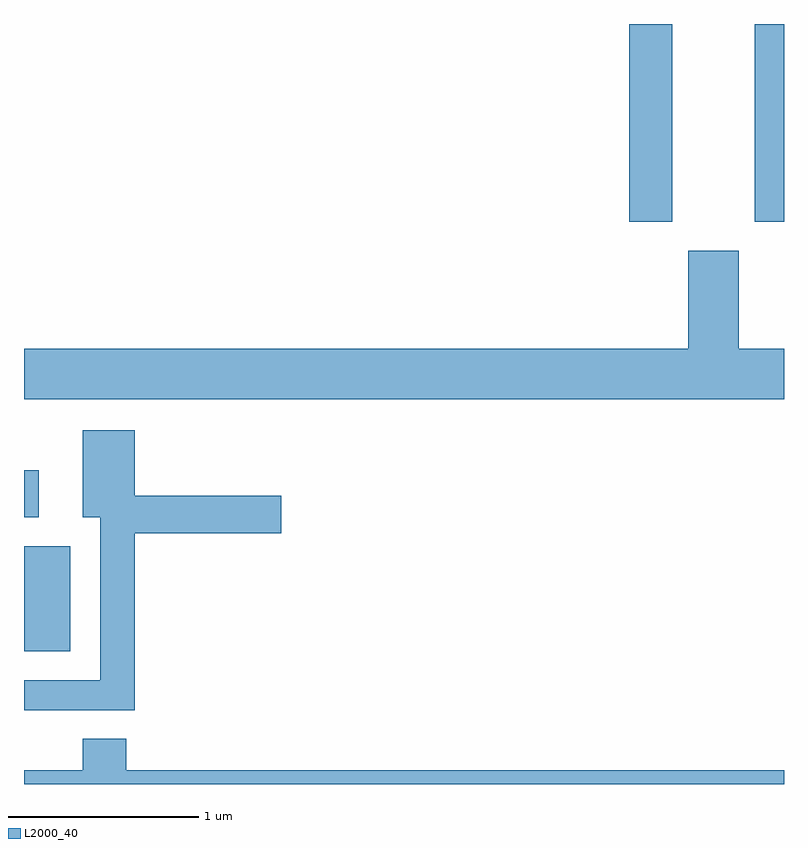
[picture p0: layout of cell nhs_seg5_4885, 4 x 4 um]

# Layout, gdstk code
import gdstk
lib = gdstk.Library(unit=1e-6, precision=1e-09)
def R(c, l, rs):  # rectangles x0, y0, x1, y1
    for r in rs: c.add(gdstk.rectangle(r[:2], r[2:], *l))
def P(c, l, *ps):  # polygons
    for p in ps: c.add(gdstk.Polygon(p, *l))
L2000_40 = (2000, 40)

nhs_seg5_4885 = lib.new_cell('nhs_seg5_4885')
R(nhs_seg5_4885, L2000_40, [(329.611,1488.771,329.854,1489.324), (329.611,1489.476,329.689,1489.724), (332.796,1491.031,333.024,1492.072), (333.456,1491.031,333.611,1492.072)])
P(nhs_seg5_4885, L2000_40, [(333.611,1490.364),(333.374,1490.364),(333.374,1490.879),(333.106,1490.879),(333.106,1490.364),(329.611,1490.364),(329.611,1490.096),(333.611,1490.096)],
  [(330.194,1489.391),(330.964,1489.391),(330.964,1489.589),(330.194,1489.589),(330.194,1489.934),(329.921,1489.934),(329.921,1489.476),(330.011,1489.476),(330.011,1488.619),(329.611,1488.619),(329.611,1488.461),(330.194,1488.461)],
  [(333.611,1488.144),(330.149,1488.144),(330.149,1488.309),(329.921,1488.309),(329.921,1488.144),(329.611,1488.144),(329.611,1488.072),(333.611,1488.072)])

lib.write_gds('nhs_seg5_4885.gds')
